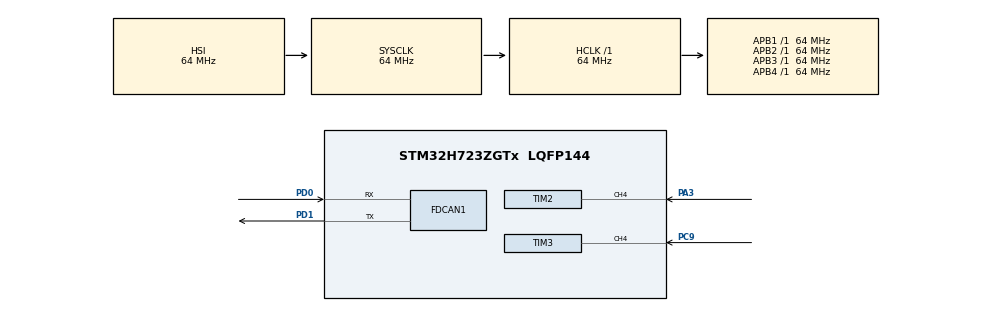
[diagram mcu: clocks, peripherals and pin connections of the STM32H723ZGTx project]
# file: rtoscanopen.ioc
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CORTEX_M7.default_mode_Activation=1
FDCAN1.AutoRetransmission=ENABLE
FDCAN1.CalculateBaudRateNominal=500000
FDCAN1.CalculateTimeBitNominal=2000
FDCAN1.CalculateTimeQuantumNominal=125.0
FDCAN1.NominalPrescaler=6
FDCAN1.NominalSyncJumpWidth=1
FDCAN1.NominalTimeSeg1=13
FDCAN1.NominalTimeSeg2=2
FDCAN1.RxFifo0ElmtsNbr=8
FDCAN1.StdFiltersNbr=1
FDCAN1.TxFifoQueueElmtsNbr=32
FREERTOS.Tasks01=defaultTask,24,2048,StartDefaultTask,Default,NULL,Dynamic,NULL,NULL;canopen,40,2048,canopen_task,Default,NULL,Dynamic,NULL,NULL
FREERTOS.configMINIMAL_STACK_SIZE=2048
FREERTOS.configTOTAL_HEAP_SIZE=65536
Mcu.Family=STM32H7
Mcu.Name=STM32H723ZGTx
Mcu.Package=LQFP144
NVIC.FDCAN1_IT0_IRQn=true\:5\:0\:false\:false\:true\:true\:true\:true\:true
NVIC.FDCAN1_IT1_IRQn=true\:5\:0\:false\:false\:true\:true\:true\:true\:true
NVIC.PriorityGroup=NVIC_PRIORITYGROUP_4
NVIC.TIM1_UP_IRQn=true\:15\:0\:false\:false\:true\:false\:false\:true\:true
NVIC.TIM2_IRQn=true\:5\:0\:false\:false\:true\:true\:true\:true\:true
NVIC.TIM3_IRQn=true\:5\:0\:false\:false\:true\:true\:true\:true\:true
NVIC.TIM6_DAC_IRQn=true\:5\:0\:false\:false\:true\:true\:true\:true\:true
NVIC.TimeBase=TIM1_UP_IRQn
NVIC.TimeBaseIP=TIM1
PA3.GPIO_PuPd=GPIO_PULLUP
PA3.Signal=S_TIM2_CH4
PC9.Signal=S_TIM3_CH4
PD0.Mode=FDCAN_Activate
PD0.Signal=FDCAN1_RX
PD1.Mode=FDCAN_Activate
PD1.Signal=FDCAN1_TX
ProjectManager.HeapSize=0x200
ProjectManager.StackSize=0x400
ProjectManager.TargetToolchain=CMake
RCC.ADCFreq_Value=129000000
RCC.APB1Freq_Value=64000000
RCC.APB2Freq_Value=64000000
RCC.APB3Freq_Value=64000000
RCC.APB4Freq_Value=64000000
RCC.CortexFreq_Value=64000000
RCC.DIVM1=4
RCC.DIVN1=12
RCC.DIVQ1=4
RCC.HCLKFreq_Value=64000000
RCC.PLLFRACN=0
RCC.SYSCLKFreq_VALUE=64000000
RCC.USBFreq_Value=48000000
SH.S_TIM2_CH4.0=TIM2_CH4,Input_Capture4_from_TI4
SH.S_TIM3_CH4.0=TIM3_CH4,Input_Capture4_from_TI4
TIM2.Channel-Input_Capture4_from_TI4=TIM_CHANNEL_4
TIM3.Channel-Input_Capture4_from_TI4=TIM_CHANNEL_4
TIM3.ICFilter_CH4=15
TIM6.AutoReloadPreload=TIM_AUTORELOAD_PRELOAD_ENABLE
TIM6.Period=999
TIM6.Prescaler=63
VP_FREERTOS_VS_CMSIS_V2.Mode=CMSIS_V2
VP_MEMORYMAP_VS_MEMORYMAP.Mode=CurAppReg
VP_SYS_VS_tim1.Mode=TIM1
VP_TIM6_VS_ClockSourceINT.Mode=Enable_Timer
board=custom

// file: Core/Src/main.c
/* USER CODE BEGIN Header */
/**
  ******************************************************************************
  * @file           : main.c
  * @brief          : Main program body
  ******************************************************************************
  * @attention
  *
  * Copyright (c) 2026 STMicroelectronics.
  * All rights reserved.
  *
  * This software is licensed under terms that can be found in the LICENSE file
  * in the root directory of this software component.
  * If no LICENSE file comes with this software, it is provided AS-IS.
  *
  ******************************************************************************
  */
/* USER CODE END Header */
#include "main.h"
#include "cmsis_os.h"
#include "fdcan.h"
#include "tim.h"
#include "gpio.h"

/* USER CODE BEGIN Includes */
#include "CO_app_STM32.h"
/* USER CODE END Includes */

/* USER CODE BEGIN PV */
CANopenNodeSTM32 canOpenNodeSTM32;
/* USER CODE END PV */

void SystemClock_Config(void);
static void MPU_Config(void);
void MX_FREERTOS_Init(void);

int main(void)
{

  /* MPU Configuration--------------------------------------------------------*/
  MPU_Config();

  /* MCU Configuration--------------------------------------------------------*/

  /* Reset of all peripherals, Initializes the Flash interface and the Systick. */
  HAL_Init();

  /* Configure the system clock */
  SystemClock_Config();

  /* Initialize all configured peripherals */
  MX_GPIO_Init();
  MX_FDCAN1_Init();
  MX_TIM6_Init();
  MX_TIM2_Init();
  MX_TIM3_Init();
  /* USER CODE BEGIN 2 */

  HAL_TIM_IC_Start_IT(&htim2, TIM_CHANNEL_4);

  HAL_TIM_Base_Start_IT(&htim2);

  HAL_TIM_IC_Start_IT(&htim3, TIM_CHANNEL_4);

  HAL_TIM_Base_Start_IT(&htim3);

  /* USER CODE END 2 */

  /* Init scheduler */
  osKernelInitialize();  /* Call init function for freertos objects (in cmsis_os2.c) */
  MX_FREERTOS_Init();

  /* Start scheduler */
  osKernelStart();

  /* We should never get here as control is now taken by the scheduler */

  /* Infinite loop */
  while (1)
  {

  }
}

void SystemClock_Config(void)
{
  RCC_OscInitTypeDef RCC_OscInitStruct = {0};
  RCC_ClkInitTypeDef RCC_ClkInitStruct = {0};

  /** Supply configuration update enable
  */
  HAL_PWREx_ConfigSupply(PWR_LDO_SUPPLY);

  /** Configure the main internal regulator output voltage
  */
  __HAL_PWR_VOLTAGESCALING_CONFIG(PWR_REGULATOR_VOLTAGE_SCALE3);

  while(!__HAL_PWR_GET_FLAG(PWR_FLAG_VOSRDY)) {}

  /** Initializes the RCC Oscillators according to the specified parameters
  * in the RCC_OscInitTypeDef structure.
  */
  RCC_OscInitStruct.OscillatorType = RCC_OSCILLATORTYPE_HSI;
  RCC_OscInitStruct.HSIState = RCC_HSI_DIV1;
  RCC_OscInitStruct.HSICalibrationValue = 64;
  RCC_OscInitStruct.PLL.PLLState = RCC_PLL_ON;
  RCC_OscInitStruct.PLL.PLLSource = RCC_PLLSOURCE_HSI;
  RCC_OscInitStruct.PLL.PLLM = 4;
  RCC_OscInitStruct.PLL.PLLN = 12;
  RCC_OscInitStruct.PLL.PLLP = 2;
  RCC_OscInitStruct.PLL.PLLQ = 4;
  RCC_OscInitStruct.PLL.PLLR = 2;
  RCC_OscInitStruct.PLL.PLLRGE = RCC_PLL1VCIRANGE_3;
  RCC_OscInitStruct.PLL.PLLVCOSEL = RCC_PLL1VCOWIDE;
  RCC_OscInitStruct.PLL.PLLFRACN = 0;
  if (HAL_RCC_OscConfig(&RCC_OscInitStruct) != HAL_OK)
  {
    Error_Handler();
  }

  /** Initializes the CPU, AHB and APB buses clocks
  */
  RCC_ClkInitStruct.ClockType = RCC_CLOCKTYPE_HCLK|RCC_CLOCKTYPE_SYSCLK
                              |RCC_CLOCKTYPE_PCLK1|RCC_CLOCKTYPE_PCLK2
                              |RCC_CLOCKTYPE_D3PCLK1|RCC_CLOCKTYPE_D1PCLK1;
  RCC_ClkInitStruct.SYSCLKSource = RCC_SYSCLKSOURCE_HSI;
  RCC_ClkInitStruct.SYSCLKDivider = RCC_SYSCLK_DIV1;
  RCC_ClkInitStruct.AHBCLKDivider = RCC_HCLK_DIV1;
  RCC_ClkInitStruct.APB3CLKDivider = RCC_APB3_DIV1;
  RCC_ClkInitStruct.APB1CLKDivider = RCC_APB1_DIV1;
  RCC_ClkInitStruct.APB2CLKDivider = RCC_APB2_DIV1;
  RCC_ClkInitStruct.APB4CLKDivider = RCC_APB4_DIV1;

  if (HAL_RCC_ClockConfig(&RCC_ClkInitStruct, FLASH_LATENCY_1) != HAL_OK)
  {
    Error_Handler();
  }
}

/* USER CODE BEGIN 4 */

/* ── tuneable constants ────────────────────────────────────────────── */
#define TIM2_CLOCK_FREQ         64000000UL    // HSI @ 64 MHz, prescaler = 0
#define TIM3_CLOCK_FREQ         64000000UL    // Make sure to define this!
#define TIMER_PERIOD_TICKS      4294967296ULL // 2^32 for 32-bit TIM2
#define TIM3_PERIOD_TICKS       65536ULL      // 2^16 for 16-bit TIM3

#define MAGNET_DEBOUNCE_TIME_MS 5U
#define SPARK_DEBOUNCE_TIME_MS  10U           // BRING THIS BACK
#define PULSES_PER_REV          2.0f          // BRING THIS BACK

#define SPEED_SMOOTHING         0.2f
#define TIRE_CIRCUMFERENCE_KM   0.001963f
#define MAX_SPEED_KMH           150U
#define MAX_RPM_LIMIT           20000U        // BRING THIS BACK

/* ── state (ISR-owned) ─────────────────────────────────────────────── */
static volatile uint32_t previous_capture     = 0;
static volatile uint8_t  speed_first_pulse    = 1;
volatile uint64_t tim2_overflow_count  = 0;  // exposed for PeriodElapsed
static volatile float    smoothed_speed_freq  = 0.0f;

volatile uint32_t last_magnet_time     = 0;

/* Tachometer specific state variables */
volatile uint32_t last_spark_time      = 0;   // BRING THIS BACK
static volatile uint32_t tach_previous_capture = 0;
static volatile uint8_t  tach_first_pulse      = 1;
volatile uint64_t tim3_overflow_count  = 0;
static volatile float    tach_smoothed_freq    = 0.0f;

/* ── speedometer output ────────────────────────────────── */
volatile uint32_t speedometer_kmh = 0;

/* ── lin pot / tach output ────────────────────────────────── */
volatile uint32_t tach_raw_value = 0;

/* Called from HAL_TIM_PeriodElapsedCallback in main.c */
void Speedometer_OverflowISR(void)
{
  tim2_overflow_count++;
}

void HAL_TIM_IC_CaptureCallback(TIM_HandleTypeDef *htim)
{
  /* ---------------- SPEEDOMETER (TIM2) ---------------- */
  if (htim->Instance == TIM2 && htim->Channel == HAL_TIM_ACTIVE_CHANNEL_4)
  {
    uint32_t now = HAL_GetTick();

    if ((now - last_magnet_time) < MAGNET_DEBOUNCE_TIME_MS)
      return;
    last_magnet_time = now;

    uint32_t cap = HAL_TIM_ReadCapturedValue(htim, TIM_CHANNEL_4);

    if (speed_first_pulse)
    {
      previous_capture    = cap;
      tim2_overflow_count = 0;
      speed_first_pulse   = 0;
      return;
    }

    uint64_t diff = (tim2_overflow_count * TIMER_PERIOD_TICKS)
                  + (uint64_t)cap
                  - (uint64_t)previous_capture;

    previous_capture    = cap;
    tim2_overflow_count = 0;

    if (diff > 0ULL)
    {
      float instant_freq = (float)TIM2_CLOCK_FREQ / (float)diff;

      smoothed_speed_freq = (instant_freq * SPEED_SMOOTHING)
                          + (smoothed_speed_freq * (1.0f - SPEED_SMOOTHING));

      uint32_t kmh = (uint32_t)(smoothed_speed_freq
                               * TIRE_CIRCUMFERENCE_KM
                               * 3600.0f);

      speedometer_kmh = (kmh > MAX_SPEED_KMH) ? MAX_SPEED_KMH : kmh;
    }
  }

  /* ---------------- TACHOMETER (TIM3) ---------------- */
  /* ---------------- TACHOMETER (TIM3) ---------------- */
  else if (htim->Instance == TIM3 && htim->Channel == HAL_TIM_ACTIVE_CHANNEL_4)
  {
    uint32_t now = HAL_GetTick();

    // SOFTWARE DEBOUNCE: Ignores the BJT high-frequency ringing
    if ((now - last_spark_time) < SPARK_DEBOUNCE_TIME_MS) {
      return;
    }
    last_spark_time = now;

    uint32_t cap = HAL_TIM_ReadCapturedValue(htim, TIM_CHANNEL_4);

    if (tach_first_pulse)
    {
      tach_previous_capture = cap;
      tim3_overflow_count = 0;
      tach_first_pulse = 0;
      return;
    }

    // New safe multi-overflow math
    uint64_t diff = (tim3_overflow_count * TIM3_PERIOD_TICKS)
                  + (uint64_t)cap
                  - (uint64_t)tach_previous_capture;

    tach_previous_capture = cap;
    tim3_overflow_count = 0;

    if (diff > 0ULL)
    {
      float instant_freq = (float)TIM3_CLOCK_FREQ / (float)diff;

      tach_smoothed_freq = (instant_freq * SPEED_SMOOTHING)
                          + (tach_smoothed_freq * (1.0f - SPEED_SMOOTHING));

      // Calculate true RPM using your old logic
      uint32_t calculated_rpm = (uint32_t)((tach_smoothed_freq * 60.0f) / PULSES_PER_REV);

      // Cap at max limit
      tach_raw_value = (calculated_rpm > MAX_RPM_LIMIT) ? MAX_RPM_LIMIT : calculated_rpm;
    }
  }
}
/* USER CODE END 4 */

 /* MPU Configuration */

void MPU_Config(void)
{
  MPU_Region_InitTypeDef MPU_InitStruct = {0};

  /* Disables the MPU */
  HAL_MPU_Disable();

  /** Initializes and configures the Region and the memory to be protected
  */
  MPU_InitStruct.Enable = MPU_REGION_ENABLE;
  MPU_InitStruct.Number = MPU_REGION_NUMBER0;
  MPU_InitStruct.BaseAddress = 0x0;
  MPU_InitStruct.Size = MPU_REGION_SIZE_4GB;
  MPU_InitStruct.SubRegionDisable = 0x87;
  MPU_InitStruct.TypeExtField = MPU_TEX_LEVEL0;
  MPU_InitStruct.AccessPermission = MPU_REGION_NO_ACCESS;
  MPU_InitStruct.DisableExec = MPU_INSTRUCTION_ACCESS_DISABLE;
  MPU_InitStruct.IsShareable = MPU_ACCESS_SHAREABLE;
  MPU_InitStruct.IsCacheable = MPU_ACCESS_NOT_CACHEABLE;
  MPU_InitStruct.IsBufferable = MPU_ACCESS_NOT_BUFFERABLE;

  HAL_MPU_ConfigRegion(&MPU_InitStruct);
  /* Enables the MPU */
  HAL_MPU_Enable(MPU_PRIVILEGED_DEFAULT);

}

void HAL_TIM_PeriodElapsedCallback(TIM_HandleTypeDef *htim)
{
  if (htim->Instance == TIM1)
  {
    HAL_IncTick();
  }
  /* USER CODE BEGIN Callback 1 */
  if (htim->Instance == TIM6) {
    canopen_app_interrupt();
  }

  // ADD THIS SO YOUR OVERFLOW TRACKING WORKS:
  if (htim->Instance == TIM2) {
    Speedometer_OverflowISR();
  }

  if (htim->Instance == TIM3) {
    tim3_overflow_count++;
  }
  /* USER CODE END Callback 1 */
}

void Error_Handler(void)
{
  __disable_irq();
  while (1)
  {
  }
}

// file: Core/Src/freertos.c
/* USER CODE BEGIN Header */
/**
  ******************************************************************************
  * File Name          : freertos.c
  * Description        : Code for freertos applications
  ******************************************************************************
  * @attention
  *
  * Copyright (c) 2026 STMicroelectronics.
  * All rights reserved.
  *
  * This software is licensed under terms that can be found in the LICENSE file
  * in the root directory of this software component.
  * If no LICENSE file comes with this software, it is provided AS-IS.
  *
  ******************************************************************************
  */
/* USER CODE END Header */

#include "FreeRTOS.h"
#include "task.h"
#include "main.h"
#include "cmsis_os.h"

/* USER CODE BEGIN Includes */
#include "CO_app_STM32.h"
#include "fdcan.h"
#include "tim.h"
#include "OD.h"
/* USER CODE END Includes */

/* USER CODE BEGIN PTD */
extern CANopenNodeSTM32 canOpenNodeSTM32;
/* USER CODE END PTD */

/* USER CODE BEGIN Variables */
extern volatile uint32_t speedometer_kmh;
extern volatile uint32_t tach_raw_value;
extern volatile uint64_t tim2_overflow_count;
extern volatile uint64_t tim3_overflow_count;
/* USER CODE END Variables */
/* Definitions for defaultTask */
osThreadId_t defaultTaskHandle;
const osThreadAttr_t defaultTask_attributes = {
  .name = "defaultTask",
  .stack_size = 2048 * 4,
  .priority = (osPriority_t) osPriorityNormal,
};
/* Definitions for canopen */
osThreadId_t canopenHandle;
const osThreadAttr_t canopen_attributes = {
  .name = "canopen",
  .stack_size = 2048 * 4,
  .priority = (osPriority_t) osPriorityHigh,
};

void StartDefaultTask(void *argument);
void canopen_task(void *argument);

void MX_FREERTOS_Init(void); /* (MISRA C 2004 rule 8.1) */

void MX_FREERTOS_Init(void) {

  /* Create the thread(s) */
  /* creation of defaultTask */
  defaultTaskHandle = osThreadNew(StartDefaultTask, NULL, &defaultTask_attributes);

  /* creation of canopen */
  canopenHandle = osThreadNew(canopen_task, NULL, &canopen_attributes);

}

void StartDefaultTask(void *argument)
{
  for(;;)
  {
    osDelay(1);
  }
}

void canopen_task(void *argument)
{
  /* USER CODE BEGIN canopen_task */
  canOpenNodeSTM32.CANHandle = &hfdcan1;
  canOpenNodeSTM32.HWInitFunction = MX_FDCAN1_Init;
  canOpenNodeSTM32.timerHandle = &htim6;   // your 1ms timer
  canOpenNodeSTM32.desiredNodeID = 5;
  canOpenNodeSTM32.baudrate = 500;
  canopen_app_init(&canOpenNodeSTM32);

  /* Infinite loop */
  for(;;)
  {
    // Zero out speedometer if motion stops
    if (tim2_overflow_count > 0) { // Consider making this > 0 for 32-bit
      speedometer_kmh = 0;
    }

    // Zero out tachometer if engine/wheel stops.
    // At 64MHz, a 16-bit timer overflows every ~1ms.
    // Waiting for 5000 overflows = 5 second timeout.
    if (tim3_overflow_count > 5000) {
      tach_raw_value = 0;
    }

    OD_RAM.x2000_speedometer = speedometer_kmh;

    // Send actual calculated tachometer data
    OD_RAM.x2001_tachometer  = tach_raw_value;

    canopen_app_process();
    osDelay(1);
  }
  /* USER CODE END canopen_task */
}
